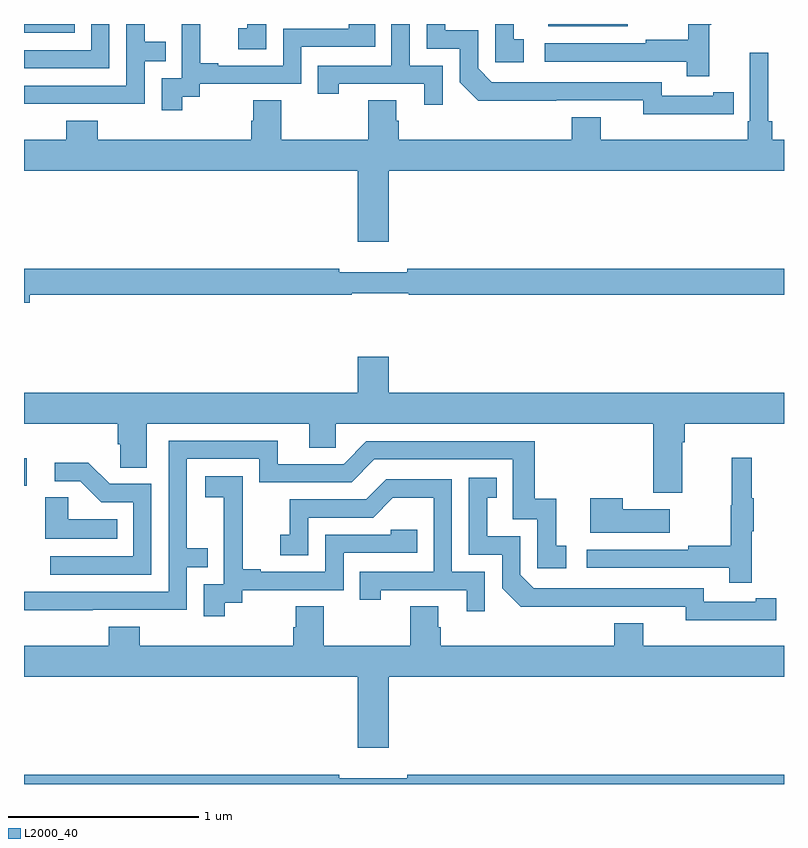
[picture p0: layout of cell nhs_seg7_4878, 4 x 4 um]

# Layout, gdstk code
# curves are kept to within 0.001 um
import gdstk
lib = gdstk.Library(unit=1e-6, precision=1e-09)
def R(c, l, rs):  # rectangles x0, y0, x1, y1
    for r in rs: c.add(gdstk.rectangle(r[:2], r[2:], *l))
def P(c, l, *ps):  # polygons
    for p in ps: c.add(gdstk.Polygon(p, *l))
L2000_40 = (2000, 40)

nhs_seg7_4878 = lib.new_cell('nhs_seg7_4878')
R(nhs_seg7_4878, L2000_40, [(415,1053.57,415.015,1053.715), (415,1055.954,415.268,1056), (417.758,1055.987,418.177,1056)])
P(nhs_seg7_4878, L2000_40, [(415.834,1055.617),(415.926,1055.617),(415.926,1055.685),(416.46,1055.685),(416.46,1055.88),(416.849,1055.88),(416.849,1056),(416.709,1056),(416.709,1055.976),(416.364,1055.976),(416.364,1055.781),(416.023,1055.781),(416.023,1055.794),(415.928,1055.794),(415.928,1056),(415.829,1056),(415.829,1055.945),(415.83,1055.945),(415.83,1055.715),(415.725,1055.715),(415.725,1055.547),(415.834,1055.547)],
  [(416.274,1056),(416.176,1056),(416.176,1055.977),(416.127,1055.977),(416.127,1055.868),(416.274,1055.868)],
  [(418.628,1055.526),(418.736,1055.526),(418.736,1055.642),(418.628,1055.642),(418.628,1055.622),(418.356,1055.622),(418.356,1055.694),(417.462,1055.694),(417.39,1055.766),(417.39,1055.967),(417.217,1055.967),(417.217,1056),(417.12,1056),(417.12,1055.871),(417.294,1055.871),(417.294,1055.694),(417.392,1055.597),(418.26,1055.598),(418.26,1055.525)],
  [(417.631,1055.919),(417.578,1055.919),(417.578,1056),(417.48,1056),(417.48,1055.799),(417.631,1055.799)],
  [(415.139,1055.58),(415.635,1055.58),(415.635,1055.805),(415.745,1055.805),(415.745,1055.906),(415.635,1055.906),(415.635,1056),(415.539,1056),(415.539,1055.676),(415,1055.676),(415,1055.579),(415.139,1055.579)],
  [(417.204,1055.781),(417.03,1055.781),(417.03,1056),(416.934,1056),(416.934,1055.781),(416.545,1055.781),(416.545,1055.634),(416.656,1055.634),(416.656,1055.685),(417.107,1055.685),(417.107,1055.574),(417.204,1055.574)],
  [(418.607,1055.995),(418.618,1055.995),(418.618,1056),(418.497,1056),(418.497,1055.918),(418.273,1055.918),(418.273,1055.898),(417.741,1055.898),(417.741,1055.802),(418.489,1055.802),(418.489,1055.724),(418.607,1055.724)],
  [(415.449,1056),(415.353,1056),(415.353,1055.862),(415,1055.862),(415,1055.766),(415.449,1055.766)],
  [(416.92,1055.228),(419,1055.228),(419,1055.392),(418.937,1055.392),(418.937,1055.488),(418.918,1055.488),(418.918,1055.848),(418.821,1055.848),(418.821,1055.488),(418.808,1055.488),(418.808,1055.392),(418.036,1055.392),(418.036,1055.509),(417.884,1055.509),(417.884,1055.392),(416.972,1055.392),(416.972,1055.49),(416.959,1055.49),(416.959,1055.6),(416.812,1055.6),(416.812,1055.392),(416.355,1055.392),(416.355,1055.6),(416.207,1055.6),(416.207,1055.49),(416.195,1055.49),(416.195,1055.392),(415.388,1055.392),(415.388,1055.491),(415.223,1055.491),(415.223,1055.392),(415,1055.392),(415,1055.228),(416.756,1055.228),(416.756,1054.854),(416.92,1054.854)],
  [(415.03,1054.576),(416.726,1054.576),(416.726,1054.584),(417.026,1054.584),(417.026,1054.576),(419,1054.576),(419,1054.712),(417.016,1054.712),(417.016,1054.693),(416.66,1054.693),(416.66,1054.712),(415,1054.712),(415,1054.534),(415.03,1054.534)],
  [(418.465,1053.8),(418.478,1053.8),(418.478,1053.896),(419,1053.896),(419,1054.06),(416.92,1054.06),(416.92,1054.249),(416.756,1054.249),(416.756,1054.06),(415,1054.06),(415,1053.896),(415.493,1053.896),(415.493,1053.787),(415.506,1053.787),(415.506,1053.664),(415.645,1053.664),(415.645,1053.896),(416.501,1053.896),(416.501,1053.769),(416.64,1053.769),(416.64,1053.896),(418.313,1053.896),(418.313,1053.534),(418.465,1053.534)],
  [(415.361,1052.916),(415.857,1052.916),(415.857,1053.141),(415.967,1053.141),(415.967,1053.242),(415.857,1053.242),(415.857,1053.711),(416.238,1053.711),(416.238,1053.588),(416.724,1053.588),(416.844,1053.708),(417.573,1053.708),(417.573,1053.393),(417.702,1053.393),(417.702,1053.135),(417.853,1053.135),(417.853,1053.255),(417.8,1053.255),(417.8,1053.502),(417.689,1053.502),(417.689,1053.804),(416.802,1053.804),(416.682,1053.684),(416.335,1053.684),(416.335,1053.807),(415.761,1053.807),(415.761,1053.012),(415,1053.012),(415,1052.915)],
  [(418.829,1053.331),(418.84,1053.331),(418.84,1053.505),(418.829,1053.505),(418.829,1053.718),(418.726,1053.718),(418.726,1053.468),(418.719,1053.468),(418.719,1053.254),(418.495,1053.254),(418.495,1053.234),(417.963,1053.234),(417.963,1053.138),(418.711,1053.138),(418.711,1053.06),(418.829,1053.06)],
  [(415.671,1053.579),(415.452,1053.579),(415.339,1053.692),(415.161,1053.692),(415.161,1053.594),(415.295,1053.594),(415.406,1053.483),(415.575,1053.483),(415.575,1053.198),(415.137,1053.198),(415.137,1053.102),(415.671,1053.102)],
  [(416.056,1052.953),(416.148,1052.953),(416.148,1053.021),(416.682,1053.021),(416.682,1053.216),(417.071,1053.216),(417.071,1053.339),(416.931,1053.339),(416.931,1053.312),(416.586,1053.312),(416.586,1053.117),(416.245,1053.117),(416.245,1053.13),(416.15,1053.13),(416.15,1053.413),(416.151,1053.413),(416.151,1053.619),(415.953,1053.619),(415.953,1053.509),(416.051,1053.509),(416.051,1053.281),(416.052,1053.281),(416.052,1053.051),(415.947,1053.051),(415.947,1052.883),(416.056,1052.883)],
  [(418.85,1052.862),(418.958,1052.862),(418.958,1052.978),(418.85,1052.978),(418.85,1052.958),(418.578,1052.958),(418.578,1053.03),(417.684,1053.03),(417.612,1053.102),(417.612,1053.303),(417.439,1053.303),(417.439,1053.507),(417.488,1053.507),(417.488,1053.613),(417.342,1053.613),(417.342,1053.207),(417.516,1053.207),(417.516,1053.03),(417.614,1052.933),(418.482,1052.934),(418.482,1052.861)],
  [(417.426,1053.117),(417.252,1053.117),(417.252,1053.603),(416.906,1053.603),(416.801,1053.498),(416.398,1053.498),(416.398,1053.313),(416.349,1053.313),(416.349,1053.204),(416.496,1053.204),(416.496,1053.402),(416.838,1053.402),(416.942,1053.506),(417.156,1053.506),(417.156,1053.117),(416.767,1053.117),(416.767,1052.97),(416.878,1052.97),(416.878,1053.021),(417.329,1053.021),(417.329,1052.91),(417.426,1052.91)],
  [(415.49,1053.394),(415.233,1053.394),(415.233,1053.509),(415.112,1053.509),(415.112,1053.29),(415.49,1053.29)],
  [(418.399,1053.445),(418.151,1053.445),(418.151,1053.505),(417.98,1053.505),(417.98,1053.323),(418.399,1053.323)],
  [(416.92,1052.564),(419,1052.564),(419,1052.728),(418.258,1052.728),(418.258,1052.845),(418.106,1052.845),(418.106,1052.728),(417.194,1052.728),(417.194,1052.826),(417.181,1052.826),(417.181,1052.936),(417.034,1052.936),(417.034,1052.728),(416.577,1052.728),(416.577,1052.936),(416.429,1052.936),(416.429,1052.826),(416.417,1052.826),(416.417,1052.728),(415.61,1052.728),(415.61,1052.827),(415.445,1052.827),(415.445,1052.728),(415,1052.728),(415,1052.564),(416.756,1052.564),(416.756,1052.19),(416.92,1052.19)],
  [(419,1052.048),(417.016,1052.048),(417.016,1052.029),(416.66,1052.029),(416.66,1052.048),(415,1052.048),(415,1052),(419,1052)])

lib.write_gds('nhs_seg7_4878.gds')
